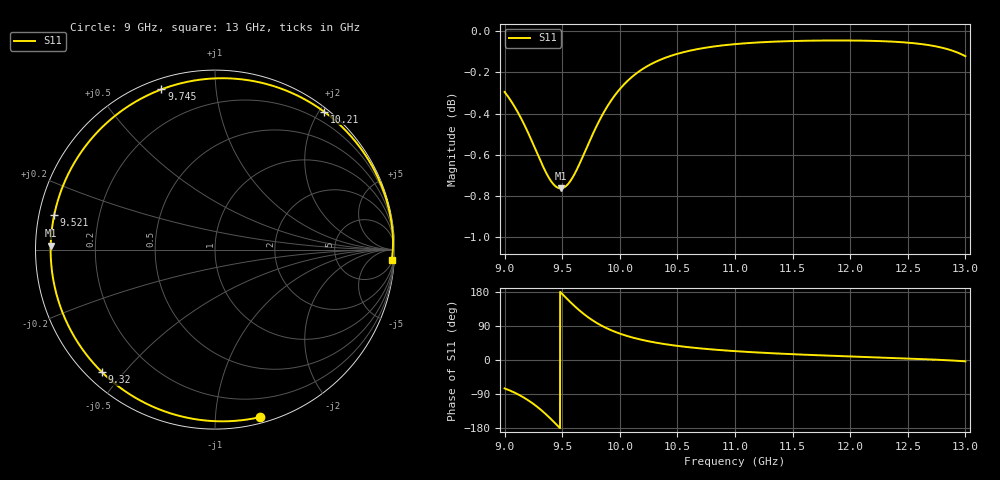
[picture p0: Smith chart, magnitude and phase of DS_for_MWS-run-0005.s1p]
! TOUCHSTONE file generated by CST DESIGN STUDIO
! Date and time: Tue Feb  4 16:14:25 2025
! Project name: C:\Work\MatlabApps\UnitCellOptimizationMatlab\CST\unitcell.cst
! Tree item: Tasks\Sweep1\SPara1\S-Parameters
! Header version: 2024
! Port assignment regex: !\s*Touchstone port\s*([0-9]+)\s*=\s*(CST MWS port|CST DES external port|CST DES block port)\s*(.+)\s* \(\"(.*)\"\)(\s*mode\s*([0-9]+))?.*
! Touchstone port assignment:
! Touchstone port 1 = CST DES external port 1 ("")
# GHz S MA R 50
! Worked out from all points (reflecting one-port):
!   4001 points, 9 GHz to 13 GHz, reference 50 ohm
!   lowest |S11| = -0.8 dB at 9.486 GHz (marker M1), VSWR 22.75, Z = 2.2 + j0.608 ohm
!   phase of S11 starts at -75 deg and turns -289 deg over the sweep
!   S11 on the Smith chart (normalised r, x): 9 GHz: 0.05, -1.30; 9.32 GHz: 0.04, -0.44; 9.521 GHz: 0.04, +0.11; 9.745 GHz: 0.05, +0.72; 10.21 GHz: 0.05, +2.06; 13 GHz: 7, -31
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9  0.9666 -74.9
9.084  0.9589 -85.8
9.184  0.9474 -102.3
9.255  0.9378 -117.0
9.32  0.9289 -132.8
9.364  0.9234 -144.7
9.41  0.919 -158.1
9.449  0.9166 -169.9
9.486  0.9158 178.6
9.5  0.9159 174.3
9.521  0.9165 167.8
9.574  0.9199 151.8
9.635  0.9265 134.6
9.689  0.9336 121.0
9.745  0.9413 108.5
9.853  0.9547 88.9
9.925  0.962 78.6
10  0.9681 69.7
10.1  0.9745 60.2
10.213  0.9797 51.7
10.345  0.984 44.1
10.5  0.9874 37.3
10.722  0.9906 30.0
11  0.9928 23.4
11.5  0.9945 15.3
12  0.9948 9.4
12.5  0.9936 4.0
13  0.9861 -3.5
